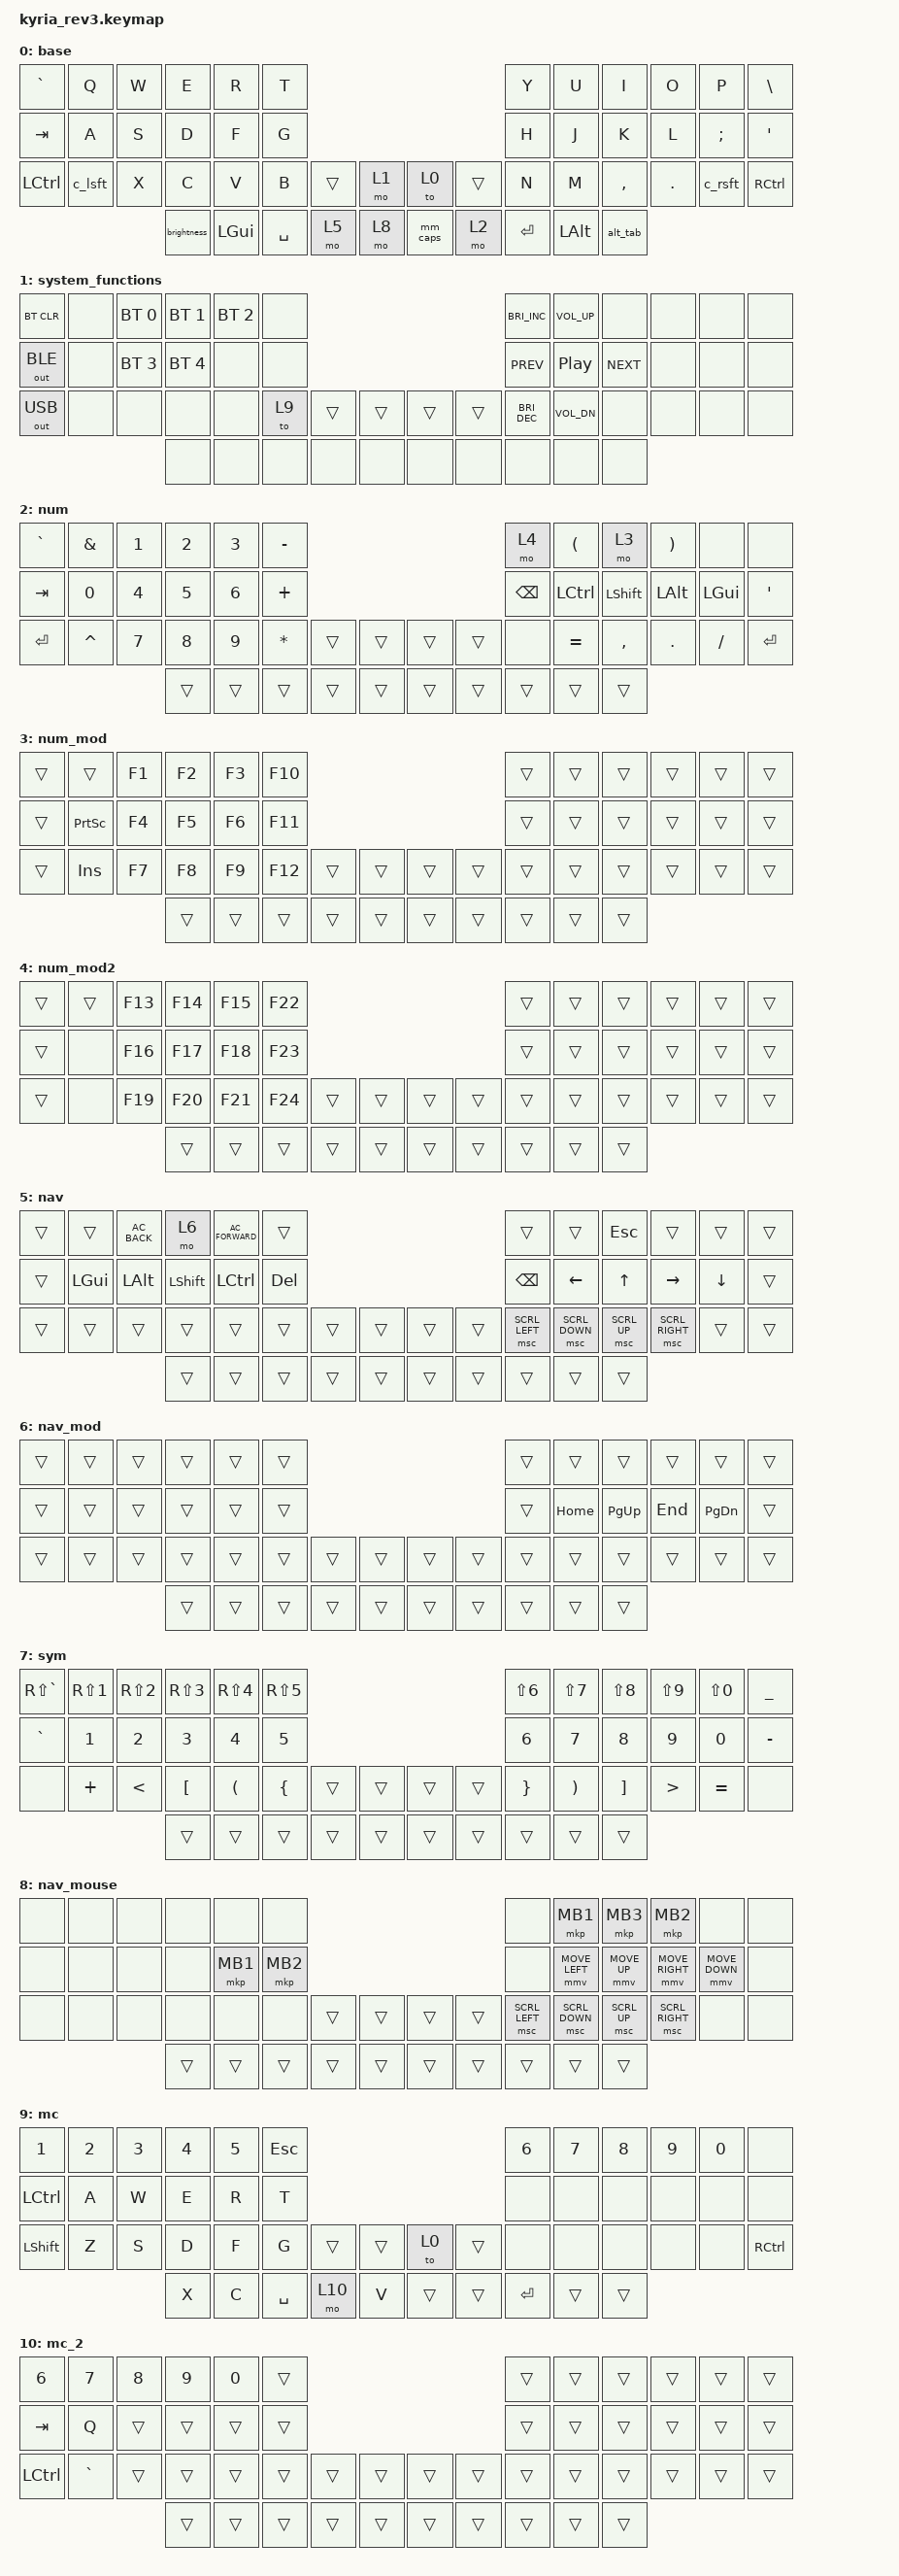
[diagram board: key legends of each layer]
/*
 * Copyright (c) 2023 The ZMK Contributors
 *
 * SPDX-License-Identifier: MIT
 */

#include <behaviors.dtsi>
#include <dt-bindings/zmk/bt.h>
#include <dt-bindings/zmk/keys.h>
#include <dt-bindings/zmk/outputs.h>
#include <dt-bindings/zmk/pointing.h>

#define ZMK_POINTING_DEFAULT_MOVE_VAL 20000
#define ZMK_POINTING_DEFAULT_SCRL_VAL 20
#define COMBO_TIMEOUT 25

&mmv {
    time-to-max-speed-ms = <100>;
    trigger-period-ms = <5>;
    acceleration-exponent = <1>;
};

&msc {
    time-to-max-speed-ms = <150>;
    acceleration-exponent = <0>;
};

/ {
    combos {
        compatible = "zmk,combos";

        lbkt {
            bindings = <&kp LBKT>;
            key-positions = <3 4>;
            timeout-ms = <COMBO_TIMEOUT>;
            layers = <0 2>;
        };

        lpar {
            bindings = <&kp LPAR>;
            key-positions = <16 15>;
            timeout-ms = <COMBO_TIMEOUT>;
            layers = <0>;
        };

        lbrc {
            bindings = <&kp LBRC>;
            key-positions = <28 27>;
            timeout-ms = <COMBO_TIMEOUT>;
            layers = <0 2>;
        };

        rbkt {
            bindings = <&kp RBKT>;
            key-positions = <7 8>;
            timeout-ms = <COMBO_TIMEOUT>;
            layers = <0 2>;
        };

        rpar {
            bindings = <&kp RPAR>;
            key-positions = <20 19>;
            timeout-ms = <COMBO_TIMEOUT>;
            layers = <0>;
        };

        rbrc {
            bindings = <&kp RBRC>;
            key-positions = <35 36>;
            timeout-ms = <COMBO_TIMEOUT>;
            layers = <0 2>;
        };

        dsh {
            bindings = <&ws_dsh>;
            key-positions = <2 3>;
            timeout-ms = <COMBO_TIMEOUT>;
            layers = <0>;
        };

        undsc {
            bindings = <&kp UNDER>;
            key-positions = <14 15>;
            timeout-ms = <COMBO_TIMEOUT>;
            layers = <0>;
        };

        amps {
            bindings = <&kp AMPS>;
            key-positions = <26 27>;
            timeout-ms = <COMBO_TIMEOUT>;
            layers = <0>;
        };

        excl {
            bindings = <&kp RS(N1)>;
            key-positions = <1 2>;
            timeout-ms = <COMBO_TIMEOUT>;
            layers = <0>;
        };

        plus {
            bindings = <&ws_plus>;
            key-positions = <8 9>;
            timeout-ms = <COMBO_TIMEOUT>;
            layers = <0>;
        };

        eq {
            bindings = <&ws_eq>;
            key-positions = <21 20>;
            timeout-ms = <COMBO_TIMEOUT>;
            layers = <0>;
        };

        ast {
            bindings = <&ws_ast>;
            key-positions = <37 36>;
            timeout-ms = <COMBO_TIMEOUT>;
            layers = <0>;
        };

        bslsh {
            bindings = <&kp BSLH>;
            key-positions = <22 21>;
            timeout-ms = <COMBO_TIMEOUT>;
            layers = <0>;
        };

        excl2 {
            bindings = <&kp RS(N1)>;
            key-positions = <13 25>;
            timeout-ms = <COMBO_TIMEOUT>;
            layers = <0>;
        };

        ats {
            bindings = <&kp RS(N2)>;
            key-positions = <14 26>;
            timeout-ms = <COMBO_TIMEOUT>;
            layers = <0>;
        };

        hsh {
            bindings = <&kp RS(N3)>;
            key-positions = <15 27>;
            timeout-ms = <COMBO_TIMEOUT>;
            layers = <0>;
        };

        dlr {
            bindings = <&kp RS(N4)>;
            key-positions = <16 28>;
            timeout-ms = <COMBO_TIMEOUT>;
            layers = <0>;
        };

        pct {
            bindings = <&kp RS(N5)>;
            key-positions = <17 29>;
            timeout-ms = <COMBO_TIMEOUT>;
            layers = <0>;
        };

        crt {
            bindings = <&kp CARET>;
            key-positions = <18 34>;
            timeout-ms = <COMBO_TIMEOUT>;
            layers = <0>;
        };

        amps2 {
            bindings = <&kp AMPS>;
            key-positions = <35 19>;
            timeout-ms = <COMBO_TIMEOUT>;
            layers = <0>;
        };
    };

    macros {
        alt_tab: alt_tab {
            compatible = "zmk,behavior-macro";
            #binding-cells = <0>;
            bindings =
                <&macro_press>,
                <&kp LALT>,
                <&macro_tap>,
                <&kp TAB>,
                <&macro_release>,
                <&kp LALT>;

            label = "ALT_TAB";
        };

        wrap_spc: wrap_spc {
            compatible = "zmk,behavior-macro-one-param";
            #binding-cells = <1>;
            bindings =
                <&macro_tap>,
                <&kp SPACE &macro_param_1to1 &kp MACRO_PLACEHOLDER &kp SPACE>;

            label = "WRAP_SPC";
            wait-ms = <0>;
            tap-ms = <5>;
        };
    };

    behaviors {
        th_r: th_r {
            compatible = "zmk,behavior-hold-tap";
            label = "TH_R";
            bindings = <&kp>, <&kp>;

            #binding-cells = <2>;
            tapping-term-ms = <250>;
            flavor = "hold-preferred";
            hold-trigger-key-positions = <1 25 13 26 14 2 3 4 5 15 16 17 27 28 29 12 0 24 48 42 47 41 45>;
            quick-tap-ms = <150>;
        };

        th_l: th_l {
            compatible = "zmk,behavior-hold-tap";
            label = "TH_L";
            bindings = <&kp>, <&kp>;

            #binding-cells = <2>;
            tapping-term-ms = <250>;
            flavor = "hold-preferred";
            quick-tap-ms = <150>;
            hold-trigger-key-positions = <6 7 8 9 10 18 19 20 21 22 34 35 36 37 23 11 39 38 41 47 42 48 45>;
        };

        brightness: brightness {
            compatible = "zmk,behavior-mod-morph";
            label = "BRIGHTNESS";
            bindings = <&kp C_BRIGHTNESS_INC>, <&kp C_BRIGHTNESS_DEC>;

            #binding-cells = <0>;
            mods = <(MOD_LSFT|MOD_RSFT)>;
        };

        c_lsft: c_lsft {
            compatible = "zmk,behavior-mod-morph";
            label = "C_LSFT";
            bindings = <&th_l LSHFT Z>, <&kp Z>;

            #binding-cells = <0>;
            keep-mods = <(MOD_RSFT)>;
            mods = <(MOD_RSFT)>;
        };

        c_rsft: c_rsft {
            compatible = "zmk,behavior-mod-morph";
            label = "C_RSFT";
            bindings = <&th_r RSHFT SLASH>, <&kp SLASH>;

            #binding-cells = <0>;
            mods = <(MOD_LSFT)>;
            keep-mods = <(MOD_LSFT)>;
        };

        mm_caps: mm_caps {
            compatible = "zmk,behavior-mod-morph";
            label = "MM_CAPS";
            bindings = <&caps_word>, <&kp CAPS>;

            #binding-cells = <0>;
            mods = <(MOD_LSFT|MOD_RSFT)>;
        };

        ws_eq: ws_eq {
            compatible = "zmk,behavior-mod-morph";
            label = "WS_EQ";
            bindings = <&kp EQUAL>, <&wrap_spc EQUAL>;

            #binding-cells = <0>;
            mods = <(MOD_LSFT|MOD_RSFT)>;
        };

        ws_plus: ws_plus {
            compatible = "zmk,behavior-mod-morph";
            label = "WS_PLUS";
            bindings = <&kp PLUS>, <&wrap_spc PLUS>;

            #binding-cells = <0>;
            mods = <(MOD_LSFT|MOD_RSFT)>;
        };

        ws_dsh: ws_dsh {
            compatible = "zmk,behavior-mod-morph";
            label = "WS_DSH";
            bindings = <&kp MINUS>, <&wrap_spc MINUS>;

            #binding-cells = <0>;
            mods = <(MOD_LSFT|MOD_RSFT)>;
        };

        ws_ast: ws_ast {
            compatible = "zmk,behavior-mod-morph";
            label = "WS_AST";
            bindings = <&kp ASTRK>, <&wrap_spc ASTRK>;

            #binding-cells = <0>;
            mods = <(MOD_LSFT|MOD_RSFT)>;
        };
    };

    keymap {
        compatible = "zmk,keymap";

        base {
            bindings = <
&kp GRAVE  &kp Q    &kp W  &kp E        &kp R         &kp T                                       &kp Y    &kp U     &kp I      &kp O    &kp P     &kp BSLH
&kp TAB    &kp A    &kp S  &kp D        &kp F         &kp G                                       &kp H    &kp J     &kp K      &kp L    &kp SEMI  &kp SQT
&kp LCTRL  &c_lsft  &kp X  &kp C        &kp V         &kp B      &trans  &mo 1  &to 0     &trans  &kp N    &kp M     &kp COMMA  &kp DOT  &c_rsft   &kp RCTRL
                           &brightness  &kp LEFT_GUI  &kp SPACE  &mo 5   &mo 8  &mm_caps  &mo 2   &kp RET  &kp LALT  &alt_tab
            >;
        };

        system_functions {
            bindings = <
&bt BT_CLR    &none  &bt BT_SEL 0  &bt BT_SEL 1  &bt BT_SEL 2  &none                                  &kp C_BRIGHTNESS_INC  &kp C_VOL_UP      &none       &none  &none  &none
&out OUT_BLE  &none  &bt BT_SEL 3  &bt BT_SEL 4  &none         &none                                  &kp C_PREV            &kp C_PLAY_PAUSE  &kp C_NEXT  &none  &none  &none
&out OUT_USB  &none  &none         &none         &none         &to 9  &trans  &trans  &trans  &trans  &kp C_BRIGHTNESS_DEC  &kp C_VOL_DN      &none       &none  &none  &none
                                   &none         &none         &none  &none   &none   &none   &none   &none                 &none             &none
            >;
        };

        num {
            bindings = <
&kp GRAVE  &kp AMPS   &kp N1  &kp N2  &kp N3  &kp MINUS                                  &mo 4          &kp LPAR   &mo 3      &kp RPAR  &none     &none
&kp TAB    &kp N0     &kp N4  &kp N5  &kp N6  &kp PLUS                                   &kp BACKSPACE  &kp LCTRL  &kp LSHFT  &kp LALT  &kp LGUI  &kp SQT
&kp RET    &kp CARET  &kp N7  &kp N8  &kp N9  &kp ASTRK  &trans  &trans  &trans  &trans  &none          &kp EQUAL  &kp COMMA  &kp DOT   &kp FSLH  &kp RET
                              &trans  &trans  &trans     &trans  &trans  &trans  &trans  &trans         &trans     &trans
            >;
        };

        num_mod {
            bindings = <
&trans  &trans     &kp F1  &kp F2  &kp F3  &kp F10                                  &trans  &trans  &trans  &trans  &trans  &trans
&trans  &kp PSCRN  &kp F4  &kp F5  &kp F6  &kp F11                                  &trans  &trans  &trans  &trans  &trans  &trans
&trans  &kp INS    &kp F7  &kp F8  &kp F9  &kp F12  &trans  &trans  &trans  &trans  &trans  &trans  &trans  &trans  &trans  &trans
                           &trans  &trans  &trans   &trans  &trans  &trans  &trans  &trans  &trans  &trans
            >;
        };

        num_mod2 {
            bindings = <
&trans  &trans  &kp F13  &kp F14  &kp F15  &kp F22                                  &trans  &trans  &trans  &trans  &trans  &trans
&trans  &none   &kp F16  &kp F17  &kp F18  &kp F23                                  &trans  &trans  &trans  &trans  &trans  &trans
&trans  &none   &kp F19  &kp F20  &kp F21  &kp F24  &trans  &trans  &trans  &trans  &trans  &trans  &trans  &trans  &trans  &trans
                         &trans   &trans   &trans   &trans  &trans  &trans  &trans  &trans  &trans  &trans
            >;
        };

        nav {
            bindings = <
&trans  &trans    &kp C_AC_BACK  &mo 6      &kp C_AC_FORWARD  &trans                                   &trans          &trans          &kp ESC       &trans           &trans    &trans
&trans  &kp LGUI  &kp LALT       &kp LSHFT  &kp LCTRL         &kp DEL                                  &kp BACKSPACE   &kp LEFT        &kp UP        &kp RIGHT        &kp DOWN  &trans
&trans  &trans    &trans         &trans     &trans            &trans   &trans  &trans  &trans  &trans  &msc SCRL_LEFT  &msc SCRL_DOWN  &msc SCRL_UP  &msc SCRL_RIGHT  &trans    &trans
                                 &trans     &trans            &trans   &trans  &trans  &trans  &trans  &trans          &trans          &trans
            >;
        };

        nav_mod {
            bindings = <
&trans  &trans  &trans  &trans  &trans  &trans                                  &trans  &trans    &trans     &trans   &trans     &trans
&trans  &trans  &trans  &trans  &trans  &trans                                  &trans  &kp HOME  &kp PG_UP  &kp END  &kp PG_DN  &trans
&trans  &trans  &trans  &trans  &trans  &trans  &trans  &trans  &trans  &trans  &trans  &trans    &trans     &trans   &trans     &trans
                        &trans  &trans  &trans  &trans  &trans  &trans  &trans  &trans  &trans    &trans
            >;
        };

        sym {
            bindings = <
&kp RS(GRAVE)  &kp RS(N1)  &kp RS(N2)  &kp RS(N3)  &kp RS(N4)  &kp RS(N5)                                  &kp LS(N6)  &kp LS(N7)  &kp LS(N8)  &kp LS(N9)  &kp LS(N0)  &kp UNDER
&kp GRAVE      &kp N1      &kp N2      &kp N3      &kp N4      &kp N5                                      &kp N6      &kp N7      &kp N8      &kp N9      &kp N0      &kp MINUS
&none          &kp PLUS    &kp LT      &kp LBKT    &kp LPAR    &kp LBRC    &trans  &trans  &trans  &trans  &kp RBRC    &kp RPAR    &kp RBKT    &kp GT      &kp EQUAL   &none
                                       &trans      &trans      &trans      &trans  &trans  &trans  &trans  &trans      &trans      &trans
            >;
        };

        nav_mouse {
            bindings = <
&none  &none  &none  &none   &none     &none                                     &none           &mkp MB1        &mkp MB3      &mkp MB2         &none           &none
&none  &none  &none  &none   &mkp MB1  &mkp MB2                                  &none           &mmv MOVE_LEFT  &mmv MOVE_UP  &mmv MOVE_RIGHT  &mmv MOVE_DOWN  &none
&none  &none  &none  &none   &none     &none     &trans  &trans  &trans  &trans  &msc SCRL_LEFT  &msc SCRL_DOWN  &msc SCRL_UP  &msc SCRL_RIGHT  &none           &none
                     &trans  &trans    &trans    &trans  &trans  &trans  &trans  &trans          &trans          &trans
            >;
        };

        mc {
            bindings = <
&kp N1     &kp N2  &kp N3  &kp N4  &kp N5  &kp ESC                                    &kp N6   &kp N7  &kp N8  &kp N9  &kp N0  &none
&kp LCTRL  &kp A   &kp W   &kp E   &kp R   &kp T                                      &none    &none   &none   &none   &none   &none
&kp LSHFT  &kp Z   &kp S   &kp D   &kp F   &kp G      &trans  &trans  &to 0   &trans  &none    &none   &none   &none   &none   &kp RCTRL
                           &kp X   &kp C   &kp SPACE  &mo 10  &kp V   &trans  &trans  &kp RET  &trans  &trans
            >;
        };

        mc_2 {
            bindings = <
&kp N6     &kp N7     &kp N8  &kp N9  &kp N0  &trans                                  &trans  &trans  &trans  &trans  &trans  &trans
&kp TAB    &kp Q      &trans  &trans  &trans  &trans                                  &trans  &trans  &trans  &trans  &trans  &trans
&kp LCTRL  &kp GRAVE  &trans  &trans  &trans  &trans  &trans  &trans  &trans  &trans  &trans  &trans  &trans  &trans  &trans  &trans
                              &trans  &trans  &trans  &trans  &trans  &trans  &trans  &trans  &trans  &trans
            >;
        };
    };

    conditional_layers {
        compatible = "zmk,conditional-layers";

        sym {
            if-layers = <2 5>;
            then-layer = <7>;
        };
    };
};
